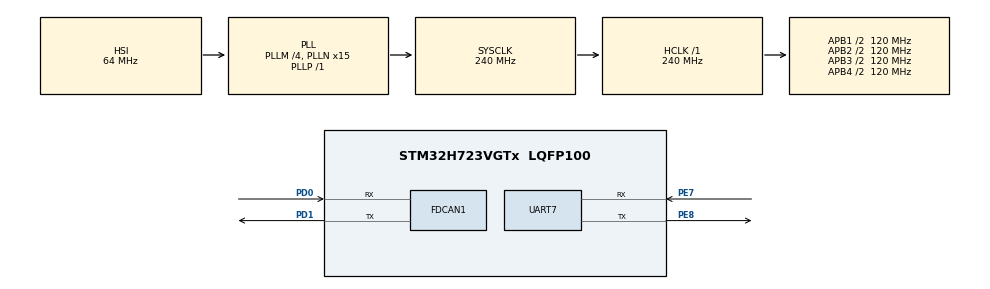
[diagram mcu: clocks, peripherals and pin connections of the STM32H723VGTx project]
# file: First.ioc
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CORTEX_M7.CPU_ICache=Enabled
CORTEX_M7.MPU_Control=__NULL
CORTEX_M7.default_mode_Activation=1
Dma.Request0=UART7_RX
Dma.Request1=UART7_TX
Dma.UART7_RX.0.Direction=DMA_PERIPH_TO_MEMORY
Dma.UART7_RX.0.EventEnable=DISABLE
Dma.UART7_RX.0.FIFOMode=DMA_FIFOMODE_DISABLE
Dma.UART7_RX.0.Instance=DMA1_Stream0
Dma.UART7_RX.0.MemDataAlignment=DMA_MDATAALIGN_BYTE
Dma.UART7_RX.0.MemInc=DMA_MINC_ENABLE
Dma.UART7_RX.0.Mode=DMA_NORMAL
Dma.UART7_RX.0.PeriphDataAlignment=DMA_PDATAALIGN_BYTE
Dma.UART7_RX.0.PeriphInc=DMA_PINC_DISABLE
Dma.UART7_RX.0.Polarity=HAL_DMAMUX_REQ_GEN_RISING
Dma.UART7_RX.0.Priority=DMA_PRIORITY_LOW
Dma.UART7_RX.0.RequestNumber=1
Dma.UART7_RX.0.SignalID=NONE
Dma.UART7_RX.0.SyncEnable=DISABLE
Dma.UART7_RX.0.SyncPolarity=HAL_DMAMUX_SYNC_NO_EVENT
Dma.UART7_RX.0.SyncRequestNumber=1
Dma.UART7_RX.0.SyncSignalID=NONE
Dma.UART7_TX.1.Direction=DMA_MEMORY_TO_PERIPH
Dma.UART7_TX.1.EventEnable=DISABLE
Dma.UART7_TX.1.FIFOMode=DMA_FIFOMODE_DISABLE
Dma.UART7_TX.1.Instance=DMA1_Stream1
Dma.UART7_TX.1.MemDataAlignment=DMA_MDATAALIGN_BYTE
Dma.UART7_TX.1.MemInc=DMA_MINC_ENABLE
Dma.UART7_TX.1.Mode=DMA_NORMAL
Dma.UART7_TX.1.PeriphDataAlignment=DMA_PDATAALIGN_BYTE
Dma.UART7_TX.1.PeriphInc=DMA_PINC_DISABLE
Dma.UART7_TX.1.Polarity=HAL_DMAMUX_REQ_GEN_RISING
Dma.UART7_TX.1.Priority=DMA_PRIORITY_LOW
Dma.UART7_TX.1.RequestNumber=1
Dma.UART7_TX.1.SignalID=NONE
Dma.UART7_TX.1.SyncEnable=DISABLE
Dma.UART7_TX.1.SyncPolarity=HAL_DMAMUX_SYNC_NO_EVENT
Dma.UART7_TX.1.SyncRequestNumber=1
Dma.UART7_TX.1.SyncSignalID=NONE
FDCAN1.AutoRetransmission=ENABLE
FDCAN1.CalculateBaudRateNominal=1000000
FDCAN1.CalculateTimeBitNominal=1000
FDCAN1.CalculateTimeQuantumNominal=8.333333333333334
FDCAN1.DataSyncJumpWidth=3
FDCAN1.DataTimeSeg1=17
FDCAN1.DataTimeSeg2=6
FDCAN1.FrameFormat=FDCAN_FRAME_FD_NO_BRS
FDCAN1.NominalPrescaler=1
FDCAN1.NominalTimeSeg1=98
FDCAN1.NominalTimeSeg2=21
FDCAN1.RxFifo0ElmtsNbr=32
FDCAN1.NominalSyncJumpWidth=12
FDCAN1.RxFifo0ElmtSize=FDCAN_DATA_BYTES_64
FDCAN1.TxEventsNbr=8
FDCAN1.TxFifoQueueElmtsNbr=8
FDCAN1.TxElmtSize=FDCAN_DATA_BYTES_64
Mcu.Family=STM32H7
Mcu.Name=STM32H723VGTx
Mcu.Package=LQFP100
NVIC.DMA1_Stream0_IRQn=true\:0\:0\:false\:false\:true\:false\:true\:true
NVIC.DMA1_Stream1_IRQn=true\:0\:0\:false\:false\:true\:false\:true\:true
NVIC.FDCAN1_IT0_IRQn=true\:5\:0\:false\:false\:true\:true\:true\:true
NVIC.PriorityGroup=NVIC_PRIORITYGROUP_4
NVIC.UART7_IRQn=true\:0\:0\:false\:false\:true\:false\:true\:true
PD0.Mode=FDCAN_Activate
PD0.Signal=FDCAN1_RX
PD0.GPIO_Speed=GPIO_SPEED_FREQ_VERY_HIGH
PD1.Mode=FDCAN_Activate
PD1.Signal=FDCAN1_TX
PD1.GPIO_Speed=GPIO_SPEED_FREQ_VERY_HIGH
PE7.Mode=Asynchronous
PE7.Signal=UART7_RX
PE8.Mode=Asynchronous
PE8.Signal=UART7_TX
PH0-OSC_IN.Mode=HSE-External-Oscillator
PH0-OSC_IN.Signal=RCC_OSC_IN
PH1-OSC_OUT.Mode=HSE-External-Oscillator
PH1-OSC_OUT.Signal=RCC_OSC_OUT
ProjectManager.HeapSize=0x200
ProjectManager.StackSize=0x400
ProjectManager.TargetToolchain=Makefile
RCC.ADCFreq_Value=129000000
RCC.APB1Freq_Value=120000000
RCC.APB2Freq_Value=120000000
RCC.APB3Freq_Value=120000000
RCC.APB4Freq_Value=120000000
RCC.CortexFreq_Value=240000000
RCC.D1PPRE=RCC_APB3_DIV2
RCC.D2PPRE1=RCC_APB1_DIV2
RCC.D2PPRE2=RCC_APB2_DIV2
RCC.D3PPRE=RCC_APB4_DIV2
RCC.DIVM1=4
RCC.DIVN1=15
RCC.DIVP1=1
RCC.HCLKFreq_Value=240000000
RCC.PLL2FRACN=0
RCC.PLL3FRACN=0
RCC.PLLFRACN=0
RCC.SYSCLKFreq_VALUE=240000000
RCC.SYSCLKSource=RCC_SYSCLKSOURCE_PLLCLK
RCC.USBFreq_Value=120000000
VP_MEMORYMAP_VS_MEMORYMAP.Mode=CurAppReg
board=custom

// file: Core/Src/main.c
/* USER CODE BEGIN Header */
/**
  ******************************************************************************
  * @file           : main.c
  * @author         : STMicroelectronics (generated); Codex (user integration)
  * @brief          : Main program body
  * @date           : 2026-10-14
  ******************************************************************************
  * @attention
  *
  * Copyright (c) 2026 STMicroelectronics.
  * All rights reserved.
  *
  * This software is licensed under terms that can be found in the LICENSE file
  * in the root directory of this software component.
  * If no LICENSE file comes with this software, it is provided AS-IS.
  *
  ******************************************************************************
  */
/* USER CODE END Header */
#include "./main.h"
#include "./dma.h"
#include "./fdcan.h"
#include "./usart.h"
#include "./gpio.h"

/* USER CODE BEGIN Includes */
#include "./bsp/bsp_uart_log.h"
#include "./bsp/bsp_fdcan.h"
#include "./device/can_probe.h"
#include "./service/fdcan_diag.h"
#include "./bsp/bsp_uart_stream.h"
#include "./service/tuning_link.h"
#include "./device/motor.h"
#include "./app/motor_tune.h"
#include "./composition/firmware.h"
#ifndef DIAG_MODE
#define DIAG_MODE 0
#endif /* DIAG_MODE default */
#if DIAG_MODE == 7
#include "can_link_probe.h"
#endif /* read-only link diagnostic */

/* USER CODE END Includes */

void SystemClock_Config(void);

int main(void)
{

  /* Enable the CPU Cache */

  /* Enable I-Cache---------------------------------------------------------*/
  SCB_EnableICache();

  /* MCU Configuration--------------------------------------------------------*/

  /* Reset of all peripherals, Initializes the Flash interface and the Systick. */
  HAL_Init();

  /* Configure the system clock */
  SystemClock_Config();

  /* Initialize all configured peripherals */
  MX_GPIO_Init();
  MX_DMA_Init();
  MX_FDCAN1_Init();
  MX_UART7_Init();
  /* USER CODE BEGIN 2 */
#if DIAG_MODE != 3
#if DIAG_MODE == 1
  /* only for DEBUG: exercise both BRS choices in the internal controller. */
  hfdcan1.Init.FrameFormat=FDCAN_FRAME_FD_BRS;
#endif /* internal loopback format */
  bsp_fdcan_result_t can_result=bsp_fdcan_init(DIAG_MODE==1 ? BSP_FDCAN_LOOPBACK : BSP_FDCAN_NORMAL);
  if (can_result!=BSP_FDCAN_OK)
  {
    bsp_uart_log_write("FAIL BSP_INIT\r\n");
    Error_Handler();
  }
  #if DIAG_MODE != 0
  can_probe_init(DIAG_MODE==1);
  #endif /* legacy diagnostic images */
#if DIAG_MODE == 0
  if (!firmware_init(HAL_GetTick())) Error_Handler();
#elif DIAG_MODE == 1 || DIAG_MODE == 2
  fdcan_diag_init((fdcan_diag_mode_t)DIAG_MODE,HAL_GetTick,bsp_uart_log_write);
#elif DIAG_MODE == 7
  can_link_probe_init(HAL_GetTick());
#elif DIAG_MODE == 4 || DIAG_MODE == 5 || DIAG_MODE == 6
  if (!bsp_uart_stream_init()) Error_Handler();
  tuning_link_init(bsp_uart_stream_read,bsp_uart_stream_write);
  motor_init(HAL_GetTick());
#if DIAG_MODE == 6
  //only forDEBUG：主控PID定速试验，设备和通信接口由main统一装配。
  motor_tune_pid_demo_init(HAL_GetTick());
#elif DIAG_MODE == 5
  motor_tune_speed_demo_init(HAL_GetTick());
#else /* DIAG_MODE == 4: interactive tuning */
  motor_tune_init(HAL_GetTick());
#endif /* application variant */
#endif /* diagnostic or tuning initialization */
#endif /* DIAG_MODE != 3 */
  /* USER CODE END 2 */

  /* Infinite loop */
  while (1)
  {

    /* USER CODE BEGIN 3 */
#if DIAG_MODE == 0
    firmware_tick(HAL_GetTick());
#elif DIAG_MODE == 3
    bsp_uart_log_test_tick();
#elif DIAG_MODE == 1 || DIAG_MODE == 2
    fdcan_diag_tick();
#elif DIAG_MODE == 7
    can_link_probe_tick(HAL_GetTick());
#elif DIAG_MODE == 4 || DIAG_MODE == 5 || DIAG_MODE == 6
    motor_tune_tick(HAL_GetTick(),bsp_uart_stream_errors());
#endif /* diagnostic or tuning main loop */
  }
  /* USER CODE END 3 */
}

void SystemClock_Config(void)
{
  RCC_OscInitTypeDef RCC_OscInitStruct = {0};
  RCC_ClkInitTypeDef RCC_ClkInitStruct = {0};

  /** Supply configuration update enable
  */
  HAL_PWREx_ConfigSupply(PWR_LDO_SUPPLY);

  /** Configure the main internal regulator output voltage
  */
  __HAL_PWR_VOLTAGESCALING_CONFIG(PWR_REGULATOR_VOLTAGE_SCALE0);

  while(!__HAL_PWR_GET_FLAG(PWR_FLAG_VOSRDY)) {}

  /** Initializes the RCC Oscillators according to the specified parameters
  * in the RCC_OscInitTypeDef structure.
  */
  RCC_OscInitStruct.OscillatorType = RCC_OSCILLATORTYPE_HSI;
  RCC_OscInitStruct.HSIState = RCC_HSI_DIV1;
  RCC_OscInitStruct.HSICalibrationValue = 64;
  RCC_OscInitStruct.PLL.PLLState = RCC_PLL_ON;
  RCC_OscInitStruct.PLL.PLLSource = RCC_PLLSOURCE_HSI;
  RCC_OscInitStruct.PLL.PLLM = 4;
  RCC_OscInitStruct.PLL.PLLN = 15;
  RCC_OscInitStruct.PLL.PLLP = 1;
  RCC_OscInitStruct.PLL.PLLQ = 2;
  RCC_OscInitStruct.PLL.PLLR = 2;
  RCC_OscInitStruct.PLL.PLLRGE = RCC_PLL1VCIRANGE_3;
  RCC_OscInitStruct.PLL.PLLVCOSEL = RCC_PLL1VCOWIDE;
  RCC_OscInitStruct.PLL.PLLFRACN = 0;
  if (HAL_RCC_OscConfig(&RCC_OscInitStruct) != HAL_OK)
  {
    Error_Handler();
  }

  /** Initializes the CPU, AHB and APB buses clocks
  */
  RCC_ClkInitStruct.ClockType = RCC_CLOCKTYPE_HCLK|RCC_CLOCKTYPE_SYSCLK
                              |RCC_CLOCKTYPE_PCLK1|RCC_CLOCKTYPE_PCLK2
                              |RCC_CLOCKTYPE_D3PCLK1|RCC_CLOCKTYPE_D1PCLK1;
  RCC_ClkInitStruct.SYSCLKSource = RCC_SYSCLKSOURCE_PLLCLK;
  RCC_ClkInitStruct.SYSCLKDivider = RCC_SYSCLK_DIV1;
  RCC_ClkInitStruct.AHBCLKDivider = RCC_HCLK_DIV1;
  RCC_ClkInitStruct.APB3CLKDivider = RCC_APB3_DIV2;
  RCC_ClkInitStruct.APB1CLKDivider = RCC_APB1_DIV2;
  RCC_ClkInitStruct.APB2CLKDivider = RCC_APB2_DIV2;
  RCC_ClkInitStruct.APB4CLKDivider = RCC_APB4_DIV2;

  if (HAL_RCC_ClockConfig(&RCC_ClkInitStruct, FLASH_LATENCY_3) != HAL_OK)
  {
    Error_Handler();
  }
}

void Error_Handler(void)
{
  __disable_irq();
  while (1)
  {
  }
}
